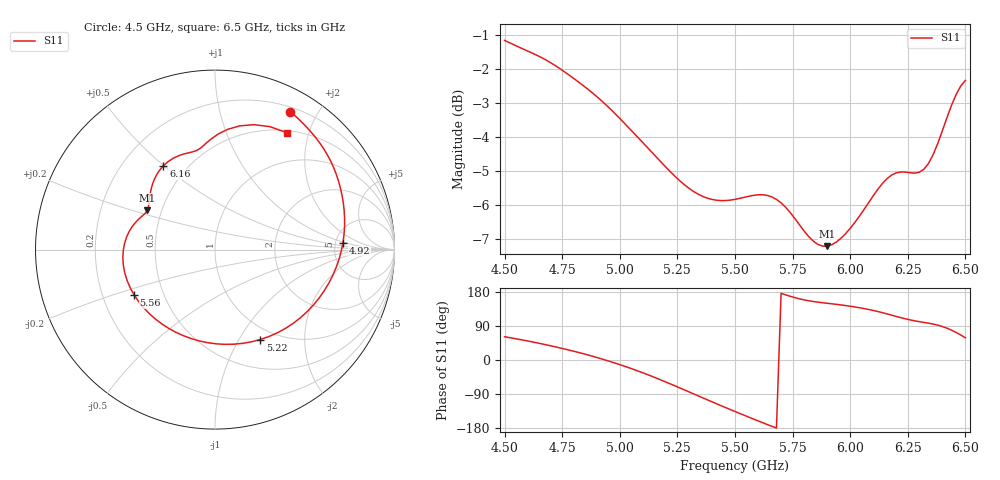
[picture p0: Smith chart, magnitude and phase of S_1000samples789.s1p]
! TOUCHSTONE file generated by CST MICROWAVE STUDIO
! Date and time: Sat Oct 29 09:35:37 2022
! Project name: L.cst
! Parameters = {Di=1.27; Epsilon_r=1.56; InnerDiameter=1.27; Length=2; Lf=10; Lg=60; OuterConductorThickness=0.2921; OuterDiameter=3.6; Wf=3; Wp=41.2; de=1.5; df=6.8; g=0.8; gx=2.01869; gy=1.0078; h=2.34; hf=1.524; px=10.809; py=11.6868; w=9.7; wx=8.79036; wy=10.679}
! Header version: 2018
! Port assignment regex: !\s*Touchstone port\s*([0-9]+)\s*=\s*(CST MWS port|CST DS port)\s*([0-9]+|Zmin|Zmax)\s*\(\"(.*)\"\)(\s*mode\s*([0-9]+))?.*
! Touchstone port assignment:
! Touchstone port 1 = CST MWS port 1 ("")
# GHz S DB R 50
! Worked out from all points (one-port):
!   101 points, 4.5 GHz to 6.5 GHz, reference 50 ohm
!   lowest |S11| = -7.2 dB at 5.9 GHz (marker M1), VSWR 2.55, Z = 20.8 + j11.3 ohm
!   |S11| at or under -10 dB: nowhere
!   S11 on the Smith chart (normalised r, x): 4.5 GHz: 0.25, +1.66; 4.92 GHz: 5.84, +0.93; 5.22 GHz: 0.85, -1.24; 5.56 GHz: 0.34, -0.23; 6.16 GHz: 0.37, +0.50; 6.5 GHz: 0.53, +1.66
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4.5  -1.16 61.4
4.64  -1.59 45.4
4.76  -2.08 29.0
4.84  -2.48 16.8
4.92  -2.93 3.1
5  -3.45 -12.2
5.1  -4.16 -33.8
5.16  -4.60 -48.1
5.22  -5.02 -63.2
5.26  -5.28 -73.6
5.32  -5.60 -89.4
5.38  -5.79 -105.1
5.5  -5.83 -135.9
5.56  -5.74 -150.8
5.62  -5.69 -165.5
5.66  -5.76 -175.0
5.76  -6.40 164.5
5.82  -6.92 156.3
5.9  -7.21 149.7
6  -6.68 141.9
6.1  -5.72 130.8
6.16  -5.22 121.6
6.26  -5.05 105.9
6.34  -4.77 97.1
6.4  -3.81 88.3
6.42  -3.43 83.9
6.46  -2.74 72.7
6.5  -2.33 58.5
